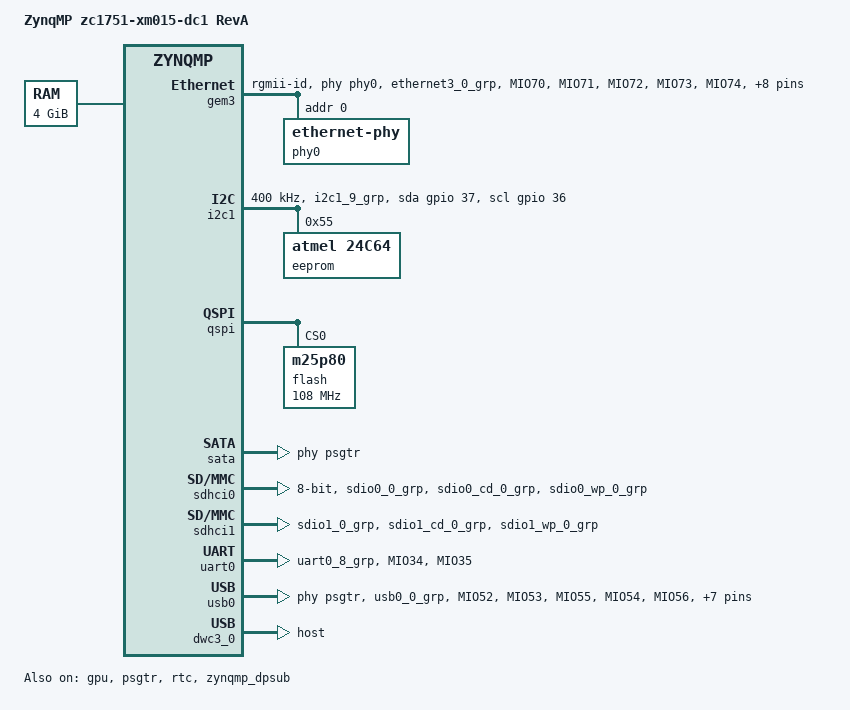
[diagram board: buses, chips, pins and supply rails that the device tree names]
// SPDX-License-Identifier: GPL-2.0+
/*
 * dts file for Xilinx ZynqMP zc1751-xm015-dc1
 *
 * (C) Copyright 2015 - 2022, Xilinx, Inc.
 * (C) Copyright 2022 - 2023, Advanced Micro Devices, Inc.
 *
 * Michal Simek <michal.simek@amd.com>
 */

/dts-v1/;

#include "zynqmp.dtsi"
#include "zynqmp-clk-ccf.dtsi"
#include <dt-bindings/phy/phy.h>
#include <dt-bindings/gpio/gpio.h>
#include <dt-bindings/pinctrl/pinctrl-zynqmp.h>

/ {
	model = "ZynqMP zc1751-xm015-dc1 RevA";
	compatible = "xlnx,zynqmp-zc1751", "xlnx,zynqmp";

	aliases {
		ethernet0 = &gem3;
		i2c0 = &i2c1;
		mmc0 = &sdhci0;
		mmc1 = &sdhci1;
		rtc0 = &rtc;
		serial0 = &uart0;
		spi0 = &qspi;
		usb0 = &usb0;
	};

	chosen {
		bootargs = "earlycon";
		stdout-path = "serial0:115200n8";
	};

	memory@0 {
		device_type = "memory";
		reg = <0x0 0x0 0x0 0x80000000>, <0x8 0x00000000 0x0 0x80000000>;
	};

	clock_si5338_0: clk27 {	/* u55 SI5338-GM */
		compatible = "fixed-clock";
		#clock-cells = <0>;
		clock-frequency = <27000000>;
	};

	clock_si5338_2: clk26 {
		compatible = "fixed-clock";
		#clock-cells = <0>;
		clock-frequency = <26000000>;
	};

	clock_si5338_3: clk150 {
		compatible = "fixed-clock";
		#clock-cells = <0>;
		clock-frequency = <150000000>;
	};
};

&fpd_dma_chan1 {
	status = "okay";
};

&fpd_dma_chan2 {
	status = "okay";
};

&fpd_dma_chan3 {
	status = "okay";
};

&fpd_dma_chan4 {
	status = "okay";
};

&fpd_dma_chan5 {
	status = "okay";
};

&fpd_dma_chan6 {
	status = "okay";
};

&fpd_dma_chan7 {
	status = "okay";
};

&fpd_dma_chan8 {
	status = "okay";
};

&gem3 {
	status = "okay";
	phy-handle = <&phy0>;
	phy-mode = "rgmii-id";
	pinctrl-names = "default";
	pinctrl-0 = <&pinctrl_gem3_default>;
	phy0: ethernet-phy@0 {
		reg = <0>;
	};
};

&gpio {
	status = "okay";
	pinctrl-names = "default";
	pinctrl-0 = <&pinctrl_gpio_default>;
};

&gpu {
	status = "okay";
};

&i2c1 {
	status = "okay";
	clock-frequency = <400000>;
	pinctrl-names = "default", "gpio";
	pinctrl-0 = <&pinctrl_i2c1_default>;
	pinctrl-1 = <&pinctrl_i2c1_gpio>;
	scl-gpios = <&gpio 36 GPIO_ACTIVE_HIGH>;
	sda-gpios = <&gpio 37 GPIO_ACTIVE_HIGH>;

	eeprom: eeprom@55 {
		compatible = "atmel,24c64"; /* 24AA64 */
		reg = <0x55>;
	};
};

&pinctrl0 {
	status = "okay";
	pinctrl_i2c1_default: i2c1-default {
		mux {
			groups = "i2c1_9_grp";
			function = "i2c1";
		};

		conf {
			groups = "i2c1_9_grp";
			bias-pull-up;
			slew-rate = <SLEW_RATE_SLOW>;
			power-source = <IO_STANDARD_LVCMOS18>;
		};
	};

	pinctrl_i2c1_gpio: i2c1-gpio {
		mux {
			groups = "gpio0_36_grp", "gpio0_37_grp";
			function = "gpio0";
		};

		conf {
			groups = "gpio0_36_grp", "gpio0_37_grp";
			slew-rate = <SLEW_RATE_SLOW>;
			power-source = <IO_STANDARD_LVCMOS18>;
		};
	};

	pinctrl_uart0_default: uart0-default {
		mux {
			groups = "uart0_8_grp";
			function = "uart0";
		};

		conf {
			groups = "uart0_8_grp";
			slew-rate = <SLEW_RATE_SLOW>;
			power-source = <IO_STANDARD_LVCMOS18>;
		};

		conf-rx {
			pins = "MIO34";
			bias-high-impedance;
		};

		conf-tx {
			pins = "MIO35";
			bias-disable;
		};
	};

	pinctrl_usb0_default: usb0-default {
		mux {
			groups = "usb0_0_grp";
			function = "usb0";
		};

		conf {
			groups = "usb0_0_grp";
			power-source = <IO_STANDARD_LVCMOS18>;
		};

		conf-rx {
			pins = "MIO52", "MIO53", "MIO55";
			bias-high-impedance;
			drive-strength = <12>;
			slew-rate = <SLEW_RATE_FAST>;
		};

		conf-tx {
			pins = "MIO54", "MIO56", "MIO57", "MIO58", "MIO59",
			       "MIO60", "MIO61", "MIO62", "MIO63";
			bias-disable;
			drive-strength = <4>;
			slew-rate = <SLEW_RATE_SLOW>;
		};
	};

	pinctrl_gem3_default: gem3-default {
		mux {
			function = "ethernet3";
			groups = "ethernet3_0_grp";
		};

		conf {
			groups = "ethernet3_0_grp";
			slew-rate = <SLEW_RATE_SLOW>;
			power-source = <IO_STANDARD_LVCMOS18>;
		};

		conf-rx {
			pins = "MIO70", "MIO71", "MIO72", "MIO73", "MIO74",
									"MIO75";
			bias-high-impedance;
			low-power-disable;
		};

		conf-tx {
			pins = "MIO64", "MIO65", "MIO66", "MIO67", "MIO68",
									"MIO69";
			bias-disable;
			low-power-enable;
		};

		mux-mdio {
			function = "mdio3";
			groups = "mdio3_0_grp";
		};

		conf-mdio {
			groups = "mdio3_0_grp";
			slew-rate = <SLEW_RATE_SLOW>;
			power-source = <IO_STANDARD_LVCMOS18>;
			bias-disable;
		};
	};

	pinctrl_sdhci0_default: sdhci0-default {
		mux {
			groups = "sdio0_0_grp";
			function = "sdio0";
		};

		conf {
			groups = "sdio0_0_grp";
			slew-rate = <SLEW_RATE_SLOW>;
			power-source = <IO_STANDARD_LVCMOS18>;
			bias-disable;
		};

		mux-cd {
			groups = "sdio0_cd_0_grp";
			function = "sdio0_cd";
		};

		conf-cd {
			groups = "sdio0_cd_0_grp";
			bias-high-impedance;
			bias-pull-up;
			slew-rate = <SLEW_RATE_SLOW>;
			power-source = <IO_STANDARD_LVCMOS18>;
		};

		mux-wp {
			groups = "sdio0_wp_0_grp";
			function = "sdio0_wp";
		};

		conf-wp {
			groups = "sdio0_wp_0_grp";
			bias-high-impedance;
			bias-pull-up;
			slew-rate = <SLEW_RATE_SLOW>;
			power-source = <IO_STANDARD_LVCMOS18>;
		};
	};

	pinctrl_sdhci1_default: sdhci1-default {
		mux {
			groups = "sdio1_0_grp";
			function = "sdio1";
		};

		conf {
			groups = "sdio1_0_grp";
			slew-rate = <SLEW_RATE_SLOW>;
			power-source = <IO_STANDARD_LVCMOS18>;
			bias-disable;
		};

		mux-cd {
			groups = "sdio1_cd_0_grp";
			function = "sdio1_cd";
		};

		conf-cd {
			groups = "sdio1_cd_0_grp";
			bias-high-impedance;
			bias-pull-up;
			slew-rate = <SLEW_RATE_SLOW>;
			power-source = <IO_STANDARD_LVCMOS18>;
		};

		mux-wp {
			groups = "sdio1_wp_0_grp";
			function = "sdio1_wp";
		};

		conf-wp {
			groups = "sdio1_wp_0_grp";
			bias-high-impedance;
			bias-pull-up;
			slew-rate = <SLEW_RATE_SLOW>;
			power-source = <IO_STANDARD_LVCMOS18>;
		};
	};

	pinctrl_gpio_default: gpio-default {
		mux {
			function = "gpio0";
			groups = "gpio0_38_grp";
		};

		conf {
			groups = "gpio0_38_grp";
			bias-disable;
			slew-rate = <SLEW_RATE_SLOW>;
			power-source = <IO_STANDARD_LVCMOS18>;
		};
	};
};

&psgtr {
	status = "okay";
	/* dp, usb3, sata */
	clocks = <&clock_si5338_0>, <&clock_si5338_2>, <&clock_si5338_3>;
	clock-names = "ref1", "ref2", "ref3";
};

&qspi {
	status = "okay";
	flash@0 {
		compatible = "m25p80", "jedec,spi-nor"; /* Micron MT25QU512ABB8ESF */
		#address-cells = <1>;
		#size-cells = <1>;
		reg = <0x0>;
		spi-tx-bus-width = <4>;
		spi-rx-bus-width = <4>;
		spi-max-frequency = <108000000>; /* Based on DC1 spec */
	};
};

&rtc {
	status = "okay";
};

&sata {
	status = "okay";
	/* SATA phy OOB timing settings */
	ceva,p0-cominit-params = /bits/ 8 <0x1B 0x4D 0x18 0x28>;
	ceva,p0-comwake-params = /bits/ 8 <0x06 0x19 0x08 0x0E>;
	ceva,p0-burst-params = /bits/ 8 <0x13 0x08 0x4A 0x06>;
	ceva,p0-retry-params = /bits/ 16 <0x96A4 0x3FFC>;
	ceva,p1-cominit-params = /bits/ 8 <0x1B 0x4D 0x18 0x28>;
	ceva,p1-comwake-params = /bits/ 8 <0x06 0x19 0x08 0x0E>;
	ceva,p1-burst-params = /bits/ 8 <0x13 0x08 0x4A 0x06>;
	ceva,p1-retry-params = /bits/ 16 <0x96A4 0x3FFC>;
	phy-names = "sata-phy";
	phys = <&psgtr 3 PHY_TYPE_SATA 1 3>;
};

/* eMMC */
&sdhci0 {
	status = "okay";
	pinctrl-names = "default";
	pinctrl-0 = <&pinctrl_sdhci0_default>;
	bus-width = <8>;
	xlnx,mio-bank = <0>;
};

/* SD1 with level shifter */
&sdhci1 {
	status = "okay";
	/*
	 * This property should be removed for supporting UHS mode
	 */
	no-1-8-v;
	pinctrl-names = "default";
	pinctrl-0 = <&pinctrl_sdhci1_default>;
	xlnx,mio-bank = <1>;
};

&uart0 {
	status = "okay";
	pinctrl-names = "default";
	pinctrl-0 = <&pinctrl_uart0_default>;
};

/* ULPI SMSC USB3320 */
&usb0 {
	status = "okay";
	pinctrl-names = "default";
	pinctrl-0 = <&pinctrl_usb0_default>;
	phy-names = "usb3-phy";
	phys = <&psgtr 2 PHY_TYPE_USB3 0 2>;
};

&dwc3_0 {
	status = "okay";
	dr_mode = "host";
	snps,usb3_lpm_capable;
	maximum-speed = "super-speed";
};

&zynqmp_dpdma {
	status = "okay";
};

&zynqmp_dpsub {
	status = "okay";
	phy-names = "dp-phy0", "dp-phy1";
	phys = <&psgtr 1 PHY_TYPE_DP 0 0>,
	       <&psgtr 0 PHY_TYPE_DP 1 1>;
};
